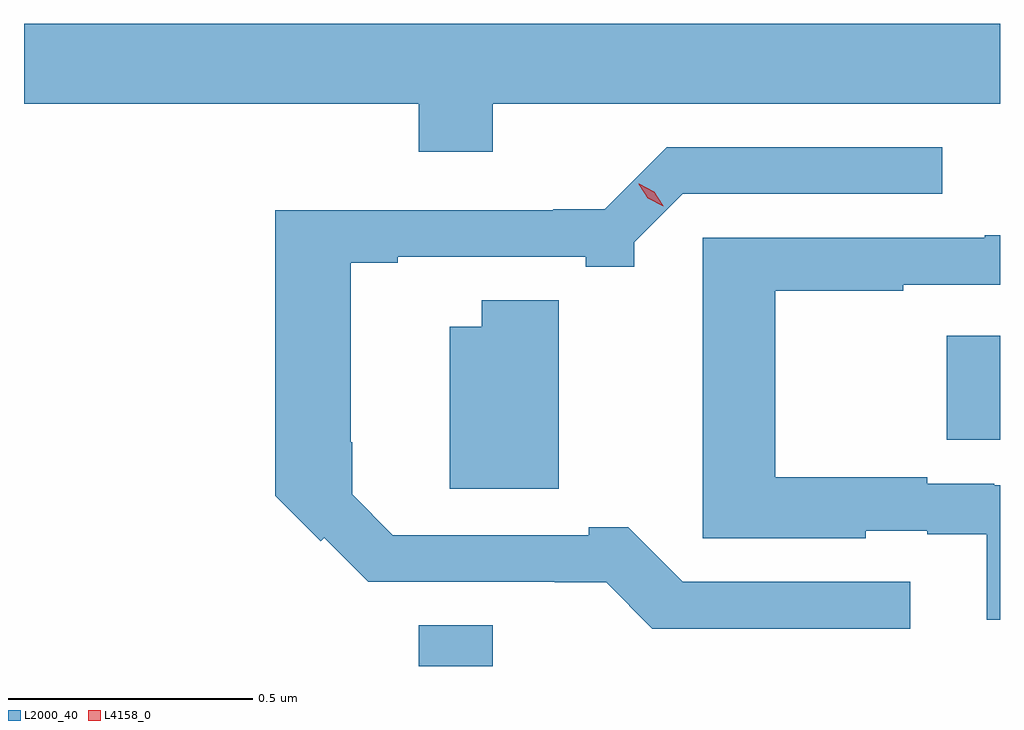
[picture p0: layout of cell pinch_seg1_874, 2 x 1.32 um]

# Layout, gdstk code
import gdstk
lib = gdstk.Library(unit=1e-6, precision=1e-09)
def R(c, l, rs):  # rectangles x0, y0, x1, y1
    for r in rs: c.add(gdstk.rectangle(r[:2], r[2:], *l))
def P(c, l, *ps):  # polygons
    for p in ps: c.add(gdstk.Polygon(p, *l))
L2000_40 = (2000, 40)
L4158_0 = (4158, 0)

pinch_seg1_874 = lib.new_cell('pinch_seg1_874')
R(pinch_seg1_874, L2000_40, [(432.059,538.591,432.211,538.675), (433.141,539.055,433.25,539.268)])
P(pinch_seg1_874, L2000_40, [(432.211,539.744),(433.25,539.744),(433.25,539.908),(431.25,539.908),(431.25,539.744),(432.059,539.744),(432.059,539.645),(432.211,539.645)],
  [(433.066,538.764),(432.6,538.764),(432.488,538.876),(432.407,538.876),(432.407,538.86),(432.006,538.86),(431.923,538.944),(431.923,539.05),(431.92,539.05),(431.92,539.418),(432.016,539.418),(432.016,539.43),(432.401,539.43),(432.401,539.41),(432.501,539.41),(432.501,539.46),(432.6,539.559),(433.132,539.559),(433.132,539.655),(432.567,539.655),(432.44,539.528),(432.335,539.528),(432.335,539.526),(431.765,539.526),(431.765,538.941),(431.858,538.847),(431.865,538.855),(431.955,538.764),(432.338,538.764),(432.338,538.763),(432.443,538.763),(432.537,538.668),(433.066,538.668)],
  [(433.25,538.962),(433.238,538.962),(433.238,538.965),(433.101,538.965),(433.101,538.978),(432.789,538.978),(432.789,539.361),(433.052,539.361),(433.052,539.373),(433.25,539.373),(433.25,539.474),(433.219,539.474),(433.219,539.469),(432.641,539.469),(432.641,538.853),(432.975,538.853),(432.975,538.869),(433.101,538.869),(433.101,538.862),(433.223,538.862),(433.223,538.686),(433.25,538.686)],
  [(432.346,539.341),(432.188,539.341),(432.188,539.287),(432.122,539.287),(432.122,538.955),(432.346,538.955)])
P(pinch_seg1_874, L4158_0, [(432.56,539.534),(432.528,539.55),(432.51,539.579),(432.51,539.58),(432.511,539.58),(432.542,539.564),(432.56,539.535),(432.56,539.534)])

lib.write_gds('pinch_seg1_874.gds')
